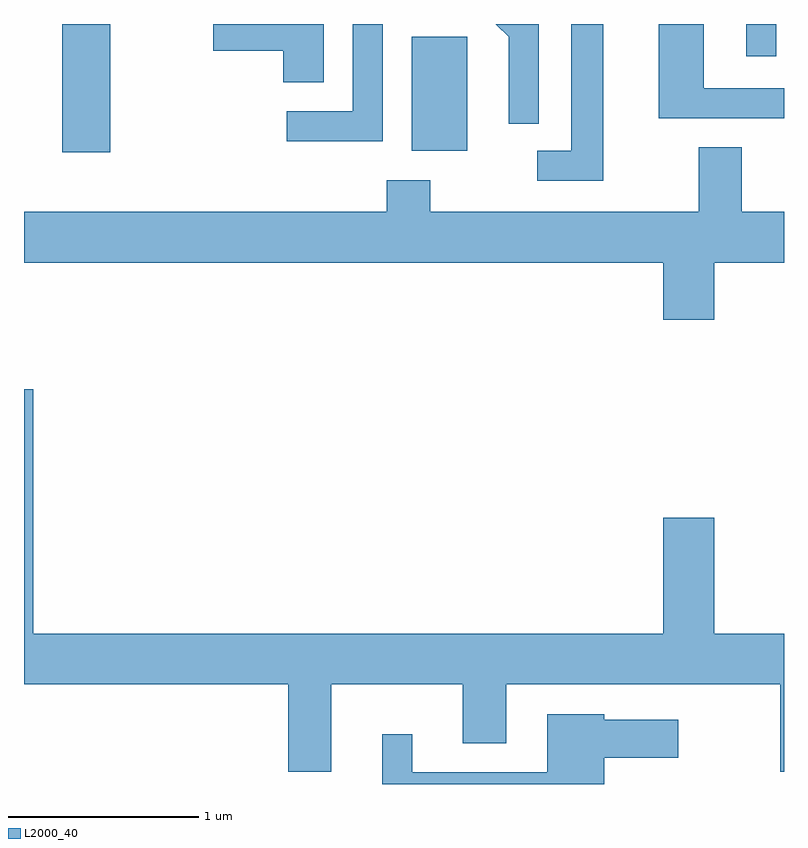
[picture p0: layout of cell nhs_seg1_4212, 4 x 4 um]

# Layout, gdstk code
import gdstk
lib = gdstk.Library(unit=1e-6, precision=1e-09)
def R(c, l, rs):  # rectangles x0, y0, x1, y1
    for r in rs: c.add(gdstk.rectangle(r[:2], r[2:], *l))
def P(c, l, *ps):  # polygons
    for p in ps: c.add(gdstk.Polygon(p, *l))
L2000_40 = (2000, 40)

nhs_seg1_4212 = lib.new_cell('nhs_seg1_4212')
R(nhs_seg1_4212, L2000_40, [(311.811,909.036,312.064,909.712), (313.651,909.046,313.944,909.644), (315.411,909.543,315.569,909.712)])
P(nhs_seg1_4212, L2000_40, [(313.189,909.712),(312.606,909.712),(312.606,909.571),(312.976,909.571),(312.976,909.406),(313.189,909.406)],
  [(313.499,909.712),(313.341,909.712),(313.341,909.254),(312.993,909.254),(312.993,909.096),(313.499,909.096)],
  [(314.319,909.712),(314.093,909.712),(314.161,909.644),(314.161,909.188),(314.319,909.188)],
  [(314.659,909.712),(314.491,909.712),(314.491,909.044),(314.313,909.044),(314.313,908.886),(314.659,908.886)],
  [(315.611,909.374),(315.189,909.374),(315.189,909.712),(314.951,909.712),(314.951,909.216),(315.611,909.216)],
  [(315.244,908.456),(315.611,908.456),(315.611,908.724),(315.389,908.724),(315.389,909.064),(315.161,909.064),(315.161,908.724),(313.749,908.724),(313.749,908.889),(313.521,908.889),(313.521,908.724),(311.611,908.724),(311.611,908.456),(314.976,908.456),(314.976,908.156),(315.244,908.156)],
  [(313.229,906.236),(313.921,906.236),(313.921,905.926),(314.149,905.926),(314.149,906.236),(315.591,906.236),(315.591,905.776),(315.611,905.776),(315.611,906.504),(315.244,906.504),(315.244,907.114),(314.976,907.114),(314.976,906.504),(311.659,906.504),(311.659,907.789),(311.611,907.789),(311.611,906.236),(313.001,906.236),(313.001,905.776),(313.229,905.776)],
  [(314.664,905.851),(315.054,905.851),(315.054,906.049),(314.664,906.049),(314.664,906.079),(314.366,906.079),(314.366,905.774),(313.654,905.774),(313.654,905.973),(313.496,905.973),(313.496,905.712),(314.664,905.712)])

lib.write_gds('nhs_seg1_4212.gds')
